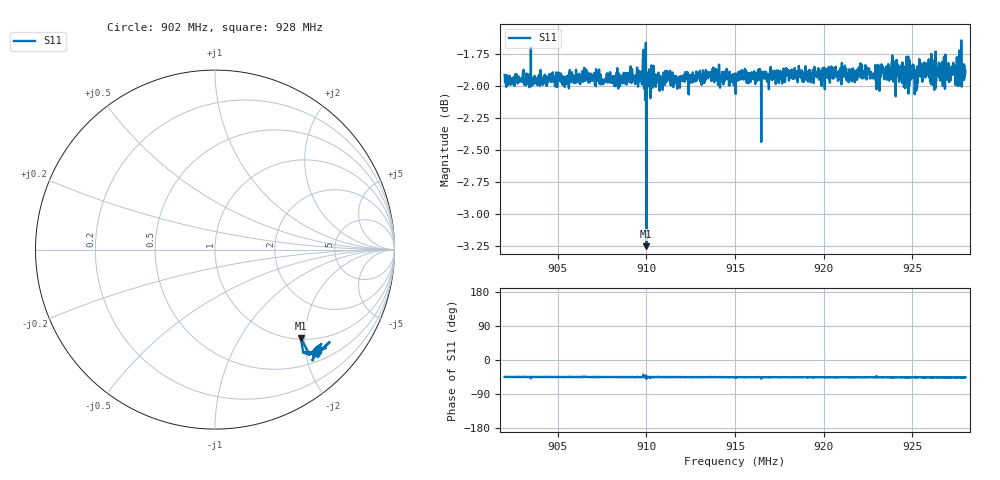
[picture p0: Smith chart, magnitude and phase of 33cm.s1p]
! Calibrated averaged scanner-service zoom
# Hz S RI R 50
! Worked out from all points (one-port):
!   2001 points, 902 MHz to 928 MHz, reference 50 ohm
!   lowest |S11| = -3.3 dB at 910 MHz (marker M1), VSWR 5.41, Z = 51.1 - j95.8 ohm
!   |S11| at or under -10 dB: nowhere
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9.02e8  0.5691 -0.5657
9.0525e8  0.5674 -0.562
9.06576e8  0.5683 -0.5651
9.07525e8  0.5647 -0.5626
9.085e8  0.5577 -0.5658
9.09631e8  0.5608 -0.57
9.09839e8  0.5939 -0.5589
9.09891e8  0.5657 -0.5604
9.09995e8  0.4787 -0.4938
9.10073e8  0.564 -0.5652
9.10112e8  0.5613 -0.5683
9.10138e8  0.5645 -0.5694
9.1019e8  0.575 -0.5625
9.1175e8  0.5641 -0.5624
9.13687e8  0.5636 -0.5669
9.15e8  0.5634 -0.5697
9.1825e8  0.5643 -0.571
9.215e8  0.5622 -0.5758
9.22449e8  0.5687 -0.5741
9.2306e8  0.5618 -0.5722
9.23866e8  0.5566 -0.5833
9.2475e8  0.5641 -0.5768
9.25257e8  0.5595 -0.5696
9.25725e8  0.5568 -0.5827
9.26219e8  0.5644 -0.5655
9.26856e8  0.5513 -0.57
9.27636e8  0.5628 -0.5791
9.28e8  0.5616 -0.5774
